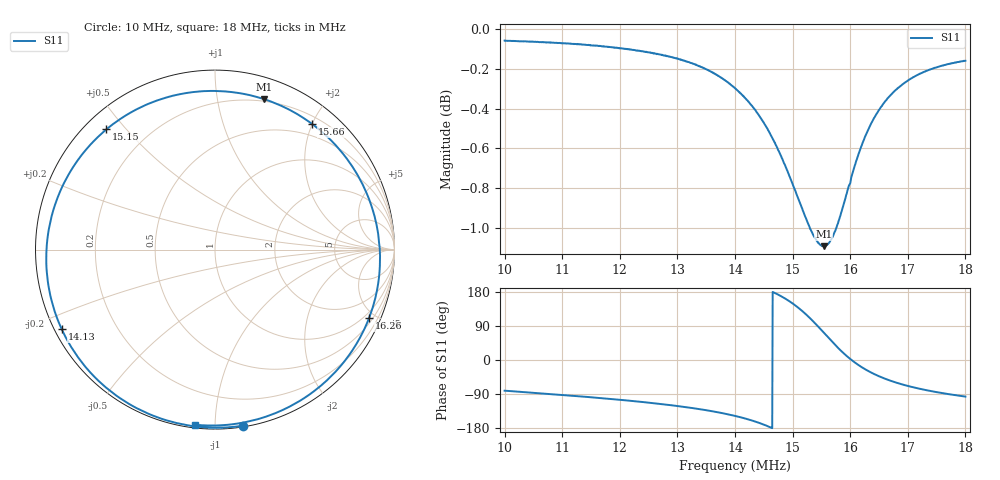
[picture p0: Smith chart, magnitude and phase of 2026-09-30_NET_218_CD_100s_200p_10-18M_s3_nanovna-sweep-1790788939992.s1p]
! NanoVNA Web complex sweep
! Processing: unaveraged complex samples; linear segment spacing; no smoothing
# Hz S RI R 50
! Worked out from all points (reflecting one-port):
!   1010 points, 10 MHz to 18 MHz, reference 50 ohm
!   lowest |S11| = -1.1 dB at 15.54 MHz (marker M1), VSWR 15.90, Z = 9.03 + j68 ohm
!   phase of S11 starts at -81 deg and turns -376 deg over the sweep
!   S11 on the Smith chart (normalised r, x): 10 MHz: 0.01, -1.17; 14.13 MHz: 0.02, -0.24; 15.15 MHz: 0.06, +0.44; 15.66 MHz: 0.31, +2.00; 16.26 MHz: 0.70, -4.59; 18 MHz: 0.02, -0.89
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1e7  0.1552 -0.9813
1.100698e7  -0.0395 -0.9911
1.200604e7  -0.2573 -0.9549
1.300509e7  -0.5135 -0.8383
1.355219e7  -0.6758 -0.7043
1.400414e7  -0.8165 -0.5169
1.413101e7  -0.8538 -0.4443
1.440852e7  -0.9208 -0.2405
1.466225e7  -0.9377 0.016
1.484462e7  -0.8921 0.2473
1.50032e7  -0.7825 0.4718
1.514592e7  -0.605 0.6699
1.525693e7  -0.4065 0.7965
1.536e7  -0.1789 0.8691
1.545515e7  0.0549 0.8815
1.554237e7  0.2724 0.8385
1.566131e7  0.5416 0.6996
1.582782e7  0.8052 0.3958
1.591503e7  0.8799 0.217
1.600225e7  0.9136 0.0415
1.612119e7  0.911 -0.1763
1.625598e7  0.8578 -0.383
1.641456e7  0.7596 -0.5702
1.6589e7  0.6356 -0.7169
1.67793e7  0.5011 -0.8247
1.700131e7  0.3561 -0.9029
1.742947e7  0.1225 -0.9696
1.800036e7  -0.1124 -0.9754
